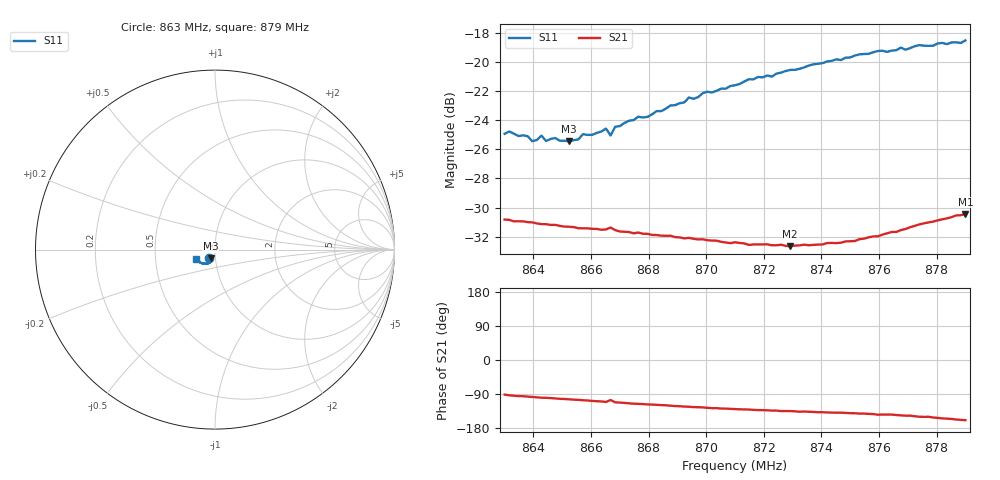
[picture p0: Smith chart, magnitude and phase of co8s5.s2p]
# HZ S RI R 50
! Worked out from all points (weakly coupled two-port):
!   101 points, 863 MHz to 879 MHz, reference 50 ohm
!   highest |S21| = -30.43 dB at 879 MHz (marker M1); lowest = -32.6 dB at 872.92 MHz (marker M2)
!   lowest |S11| = -25.5 dB at 865.24 MHz (marker M3), VSWR 1.11, Z = 47.4 - j4.52 ohm
!   |S11| at or under -10 dB: start of sweep to end of sweep
!   S12 and S22 are empty: the file has one direction only
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8.63e8  -0.0355 -0.0441  -0.00066 -0.0288  0 0  0 0
8.6316e8  -0.0377 -0.0437  -0.0016 -0.0287  0 0  0 0
8.638e8  -0.032 -0.0455  -0.0032 -0.028  0 0  0 0
8.6396e8  -0.0303 -0.044  -0.00371 -0.0279  0 0  0 0
8.6428e8  -0.0289 -0.0477  -0.00458 -0.0274  0 0  0 0
8.6444e8  -0.0288 -0.0451  -0.00474 -0.0273  0 0  0 0
8.6476e8  -0.0273 -0.0475  -0.00547 -0.0271  0 0  0 0
8.6524e8  -0.0243 -0.0475  -0.00647 -0.0264  0 0  0 0
8.6556e8  -0.0237 -0.0487  -0.00707 -0.0259  0 0  0 0
8.6572e8  -0.0243 -0.051  -0.00749 -0.0258  0 0  0 0
8.6604e8  -0.0229 -0.0513  -0.0082 -0.0255  0 0  0 0
8.6652e8  -0.022 -0.0548  -0.0094 -0.0249  0 0  0 0
8.6668e8  -0.0215 -0.0516  -0.00727 -0.026  0 0  0 0
8.6684e8  -0.0222 -0.0556  -0.00981 -0.0246  0 0  0 0
8.6844e8  -0.0237 -0.0635  -0.0123 -0.0222  0 0  0 0
8.694e8  -0.0275 -0.0703  -0.0137 -0.0208  0 0  0 0
8.71e8  -0.0371 -0.0744  -0.0153 -0.0186  0 0  0 0
8.7292e8  -0.0507 -0.0789  -0.0165 -0.0165  0 0  0 0
8.7372e8  -0.0567 -0.0799  -0.0172 -0.0161  0 0  0 0
8.7516e8  -0.0718 -0.0767  -0.0187 -0.0155  0 0  0 0
8.7644e8  -0.0826 -0.0715  -0.0211 -0.0153  0 0  0 0
8.79e8  -0.1072 -0.0501  -0.028 -0.0109  0 0  0 0
